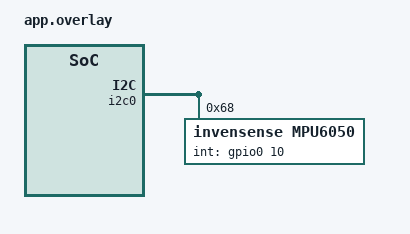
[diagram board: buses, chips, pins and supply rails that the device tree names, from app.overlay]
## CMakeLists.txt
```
# SPDX-License-Identifier: Apache-2.0

cmake_minimum_required(VERSION 3.20.0)
find_package(Zephyr REQUIRED HINTS $ENV{ZEPHYR_BASE})
project(Controller
        VERSION 1.0
        DESCRIPTION "Servo controller"
        LANGUAGES C
)

add_subdirectory(lib)
add_subdirectory(src)
```

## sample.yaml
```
sample:
  name: MPU6050 Sensor
tests:
  sample.sensor.mpu6050:
    build_only: true
    platform_allow: nrf5340dk_nrf5340
    tags: sensors
    integration_platforms:
      - nrf5340dk_nrf5340
```

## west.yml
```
manifest:
  remotes:
    - name: ncs
      url-base: https://github.com/nrfconnect
  projects:
    - name: sdk-nrf
      remote: ncs
      path: nrf
      revision: v2.4.1
      import: true
      clone-depth: 1
  self:
    path: controller
```

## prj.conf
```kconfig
# nothing here
CONFIG_I2C=y
CONFIG_SENSOR=y
CONFIG_CBPRINTF_FP_SUPPORT=y

# bluetooth
CONFIG_BT=y
CONFIG_BT_DEVICE_NAME="Servo_Controller"
CONFIG_BT_PERIPHERAL=y

# Enable DK LED and Buttons library
CONFIG_DK_LIBRARY=y

# Config logger
CONFIG_LOG=y

# Increase stack size for the main thread and System Workqueue
CONFIG_SYSTEM_WORKQUEUE_STACK_SIZE=2048
CONFIG_MAIN_STACK_SIZE=2048

# enable full math library
CONFIG_NEWLIB_LIBC=y

CONFIG_PRINTK=y
```

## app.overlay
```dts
// To get started, press Ctrl+Space to bring up the completion menu and view the available nodes.

// You can also use the buttons in the sidebar to perform actions on nodes.
// Actions currently available include:

// * Enabling / disabling the node
// * Adding the bus to a bus
// * Removing the node
// * Connecting ADC channels

// For more help, browse the DeviceTree documentation at https://docs.zephyrproject.org/latest/guides/dts/index.html
// You can also visit the nRF DeviceTree extension documentation at https://nrfconnect.github.io/vscode-nrf-connect/devicetree/nrfdevicetree.html

&i2c0 {
	mpu6050@68 {
		compatible = "invensense,mpu6050";
		reg = <0x68>;
		status = "okay";
		int-gpios = <&gpio0 10 0>;
	};

	status = "okay";
};

&i2c0_default {
	group1 {
		psels = <NRF_PSEL(TWIM_SDA, 0, 11)>, <NRF_PSEL(TWIM_SCL, 0, 12)>;
		bias-pull-up;
	};
};
```

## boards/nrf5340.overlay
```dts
/ {
    status_led: status_led {
        compatible = "controller";
        gpios = <&gpio0 5 GPIO_ACTIVE_HIGH>
    };
};
```

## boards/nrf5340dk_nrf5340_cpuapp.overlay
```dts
// To get started, press Ctrl+Space to bring up the completion menu and view the available nodes.

// You can also use the buttons in the sidebar to perform actions on nodes.
// Actions currently available include:

// * Enabling / disabling the node
// * Adding the bus to a bus
// * Removing the node
// * Connecting ADC channels

// For more help, browse the DeviceTree documentation at https://docs.zephyrproject.org/latest/guides/dts/index.html
// You can also visit the nRF DeviceTree extension documentation at https://nrfconnect.github.io/vscode-nrf-connect/devicetree/nrfdevicetree.html

&i2c1 {
	mpu6050@68 {
		compatible = "invensense,mpu6050";
		reg = <0x68>;
		status = "okay";
		int-gpios = <&gpio0 6 GPIO_ACTIVE_HIGH>;
	};
};

&i2c1_default {
	group2 {
		psels = <NRF_PSEL(TWIM_SCL, 0, 4)>, <NRF_PSEL(TWIM_SDA, 0, 5)>;
		bias-pull-up;
	};
};
```

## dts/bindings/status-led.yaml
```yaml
# Copyright (c) 2023 Libre Solar Technologies GmbH
# SPDX-License-Identifier: Apache-2.0

description: GPIO pin to switch a status LED on or off

compatible: "status-led"

properties:
  gpios:
    type: phandle-array
    required: true
    description: |
      The GPIO connected to the status LED
```

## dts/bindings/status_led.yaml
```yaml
description: GPIO pin to switch status LED on or off

compatible: "status_led"

properties:
  gpios:
    type: phandle-array
    required: true
    description: |
      The GPIO connected to the status LED
```

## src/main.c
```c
/*
 * Copyright (c) 2023 Libre Solar Technologies GmbH
 *
 * SPDX-License-Identifier: Apache-2.0
 */

#include <zephyr/kernel.h>
#include <zephyr/logging/log.h>

#include <dk_buttons_and_leds.h>

// bluetooth headers
#include <zephyr/bluetooth/bluetooth.h>
#include <zephyr/bluetooth/gap.h>
#include <zephyr/bluetooth/uuid.h>
#include <zephyr/bluetooth/addr.h>
#include <zephyr/bluetooth/conn.h>
#include <zephyr/bluetooth/gatt.h>
#include <zephyr/bluetooth/hci.h>
#include <zephyr/device.h>
#include <zephyr/drivers/sensor.h>

// custom drivers
#include "lib/mpu6050_sensor.h"

LOG_MODULE_REGISTER(Servo_Controller, LOG_LEVEL_DBG);

#define STACKSIZE 1024
#define THREAD_PRIORITY 7

#define DEVICE_NAME CONFIG_BT_DEVICE_NAME
#define DEVICE_NAME_LEN (sizeof(DEVICE_NAME) - 1)

#define RUN_STATUS_LED DK_LED1
#define RUN_LED_BLINK_INTERVAL 1000

#define CONNECTION_STATUS_LED DK_LED2

/** @brief MPU6050 Service Characteristic UUID */
#define BT_UUID_CTRLS_VAL \
	BT_UUID_128_ENCODE(0xD1B81E50, 0x3C0D, 0x11EE, 0x8F23, 0x0800200C9A66)

/** @brief Temp Characteristic UUID. */
#define BT_UUID_CTRLS_ROLL_VAL \
	BT_UUID_128_ENCODE(0xD1B81E51, 0x3C0D, 0x11EE, 0x8F23, 0x0800200C9A66)

#define BT_UUID_CTRLS BT_UUID_DECLARE_128(BT_UUID_CTRLS_VAL)
#define BT_UUID_CTRLS_ROLL BT_UUID_DECLARE_128(BT_UUID_CTRLS_ROLL_VAL)
#define NOTIFY_INTERVAL 50

static K_SEM_DEFINE(mpu_init_ok, 0, 1);
static K_SEM_DEFINE(notify_lock, 1, 1);

static bool notify_mpu6050_enabled;

static void ctrls_ccc_mpu6050_cfg_changed(const struct bt_gatt_attr *attr, uint16_t value)
{
	notify_mpu6050_enabled = (value == BT_GATT_CCC_NOTIFY);
}


BT_GATT_SERVICE_DEFINE(ctrl_svc,
					BT_GATT_PRIMARY_SERVICE(BT_UUID_CTRLS),
					BT_GATT_CHARACTERISTIC(BT_UUID_CTRLS_ROLL,
						BT_GATT_CHRC_NOTIFY,
						BT_GATT_PERM_NONE,
						NULL,
						NULL,
						NULL
					),
					BT_GATT_CCC(ctrls_ccc_mpu6050_cfg_changed, BT_GATT_PERM_READ | BT_GATT_PERM_WRITE)
);

// advertising packet
static const struct bt_data ad[] = {
	// advertising flags
	// act as Bluetooth LE peripheral
	// - no classic bluetooth (BR/EDR)
	BT_DATA_BYTES(BT_DATA_FLAGS, (BT_LE_AD_GENERAL | BT_LE_AD_NO_BREDR)),

	// advertising packet data
	BT_DATA(BT_DATA_NAME_COMPLETE, DEVICE_NAME, DEVICE_NAME_LEN)};

// scan response packet
static const struct bt_data sd[] = {
	BT_DATA_BYTES(BT_DATA_UUID128_ALL, BT_UUID_CTRLS_VAL)};

struct bt_conn *bt_connection = NULL;

void on_connected(struct bt_conn *conn, uint8_t err)
{
	if (err)
	{
		LOG_ERR("Connection error %d", err);
		return;
	}
	LOG_INF("Connected");
	bt_connection = bt_conn_ref(conn);

	struct bt_conn_info info;
	err = bt_conn_get_info(conn, &info);
	if (err)
	{
		LOG_ERR("bt_conn_get_info() returned %d", err);
		return;
	}
	double connection_interval = info.le.interval * 1.25; // in ms
	uint16_t supervision_timeout = info.le.timeout * 10;  // in ms
	LOG_INF("Connection parameters: interval %.2f ms, latency %d intervals, timeout %d ms", connection_interval, info.le.latency, supervision_timeout);

	dk_set_led(CONNECTION_STATUS_LED, 1);
}

void on_disconnected(struct bt_conn *conn, uint8_t reason)
{
	LOG_INF("Disconnected. Reason %d", reason);
	bt_conn_unref(bt_connection);

	dk_set_led(CONNECTION_STATUS_LED, 0);
}

void on_le_param_updated(struct bt_conn *conn, uint16_t interval, uint16_t latency, uint16_t timeout)
{
	double connection_interval = interval * 1.25; // in ms
	uint16_t supervision_timeout = timeout * 10;  // in ms
	LOG_INF("Connection parameters updated: interval %.2f ms, latency %d intervals, timeout %d ms", connection_interval, latency, supervision_timeout);
}

int mpu6050_notify(int sensor_value) {
	if (!notify_mpu6050_enabled) {
		return -EACCES;
	}

	return bt_gatt_notify(NULL, &ctrl_svc.attrs[2],
			      &sensor_value,
			      sizeof(sensor_value));
}

struct bt_conn_cb connection_callbacks = {
	.connected = on_connected,
	.disconnected = on_disconnected,
	.le_param_updated = on_le_param_updated,
};

int main(void)
{
	int err;
	int blink_status = 0;

	err = dk_leds_init();
	if (err)
	{
		LOG_ERR("LEDs init failed (err %d)\n", err);
		return 1;
	}

	err = initMPU6050();
	if (err)
	{
		LOG_ERR("Failed to initialise MPU6050\n");
		return 1;
	}

	k_sem_give(&mpu_init_ok);

	bt_addr_le_t addr;
	err = bt_addr_le_from_str("FF:EE:DD:CC:BB:AA", "random", &addr);
	if (err)
	{
		printk("Invalid BT address (err %d)\n", err);
	}

	err = bt_id_create(&addr, NULL);
	if (err < 0)
	{
		printk("Creating new ID failed (err %d)\n", err);
	}

	err = bt_enable(NULL);
	if (err)
	{
		LOG_ERR("Bluetooth init failed (err %d\n)", err);
		return 1;
	}
	LOG_INF("Bluetooth initialized\n");

	bt_conn_cb_register(&connection_callbacks);

	err = bt_le_adv_start(BT_LE_ADV_CONN, ad, ARRAY_SIZE(ad), sd, ARRAY_SIZE(sd));

	if (err)
	{
		LOG_ERR("Advertising failed to start (err %d)\n", err);
		return 1;
	}
	LOG_INF("Advertising sucessfully started\n");

	while (true)
	{
		dk_set_led(RUN_STATUS_LED, (++blink_status) % 2);
		k_sleep(K_MSEC(RUN_LED_BLINK_INTERVAL));
	}

	return 0;
}

void update_thread(void)
{
	k_sem_take(&mpu_init_ok, K_FOREVER);

	while (true)
	{
		k_sem_take(&notify_lock, K_FOREVER);
		update();
		k_sem_give(&notify_lock);
	}
}



void send_data_thread(void) {
	while(true) {
		k_sem_take(&notify_lock, K_FOREVER);
		int roll = (int)getRoll();
		int rc = mpu6050_notify(roll);
		if (rc) {
			LOG_ERR("Notify failed (error %d)\n", rc);
		}
		k_sem_give(&notify_lock);
		k_sleep(K_MSEC(NOTIFY_INTERVAL));
	}
}

K_THREAD_DEFINE(update_thread_id, STACKSIZE, update_thread, NULL, NULL, NULL, THREAD_PRIORITY, 0, 0);
K_THREAD_DEFINE(send_data_thread_id, STACKSIZE, send_data_thread, NULL, NULL, NULL, 6, 0, 0);
```

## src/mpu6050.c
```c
#include "mpu6050.h"

const struct device *mpu6050;

static const char *now_str(void)
{
	static char buf[16]; /* ...HH:MM:SS.MMM */
	uint32_t now = k_uptime_get_32();
	unsigned int ms = now % MSEC_PER_SEC;
	unsigned int s;
	unsigned int min;
	unsigned int h;

	now /= MSEC_PER_SEC;
	s = now % 60U;
	now /= 60U;
	min = now % 60U;
	now /= 60U;
	h = now;

	snprintf(buf, sizeof(buf), "%u:%02u:%02u.%03u",
		 h, min, s, ms);
	return buf;
}

int initMPU6050() {
    mpu6050 = DEVICE_DT_GET_ONE(invensense_mpu6050);

	if (!device_is_ready(mpu6050)) {
		printf("Device %s is not ready\n", mpu6050->name);
		return 1;
	}
	return 0;
}

struct mpu6050_reading readMPU6050() {

    struct mpu6050_reading sensor_reading;
	sensor_reading.status = 0;

	int rc = sensor_sample_fetch(mpu6050);

	if (rc == 0) {
		rc = sensor_channel_get(mpu6050, SENSOR_CHAN_ACCEL_XYZ,
					sensor_reading.accel);
	}
	if (rc == 0) {
		rc = sensor_channel_get(mpu6050, SENSOR_CHAN_GYRO_XYZ,
					sensor_reading.gyro);
	}
	if (rc == 0) {
		rc = sensor_channel_get(mpu6050, SENSOR_CHAN_AMBIENT_TEMP,
					&sensor_reading.temperature);
	}

	if (rc == 0) {
		printf("[%s]:%g Cel\n"
		       "  accel %f %f %f m/s/s\n"
		       "  gyro  %f %f %f rad/s\n",
		       now_str(),
		       sensor_value_to_double(&sensor_reading.temperature),
		       sensor_value_to_double(&sensor_reading.accel[0]),
		       sensor_value_to_double(&sensor_reading.accel[1]),
		       sensor_value_to_double(&sensor_reading.accel[2]),
		       sensor_value_to_double(&sensor_reading.gyro[0]),
		       sensor_value_to_double(&sensor_reading.gyro[1]),
		       sensor_value_to_double(&sensor_reading.gyro[2]));
	} else {
		printf("sample fetch/get failed: %d\n", rc);
		sensor_reading.status = 1;
	}

	return sensor_reading;
}
```
